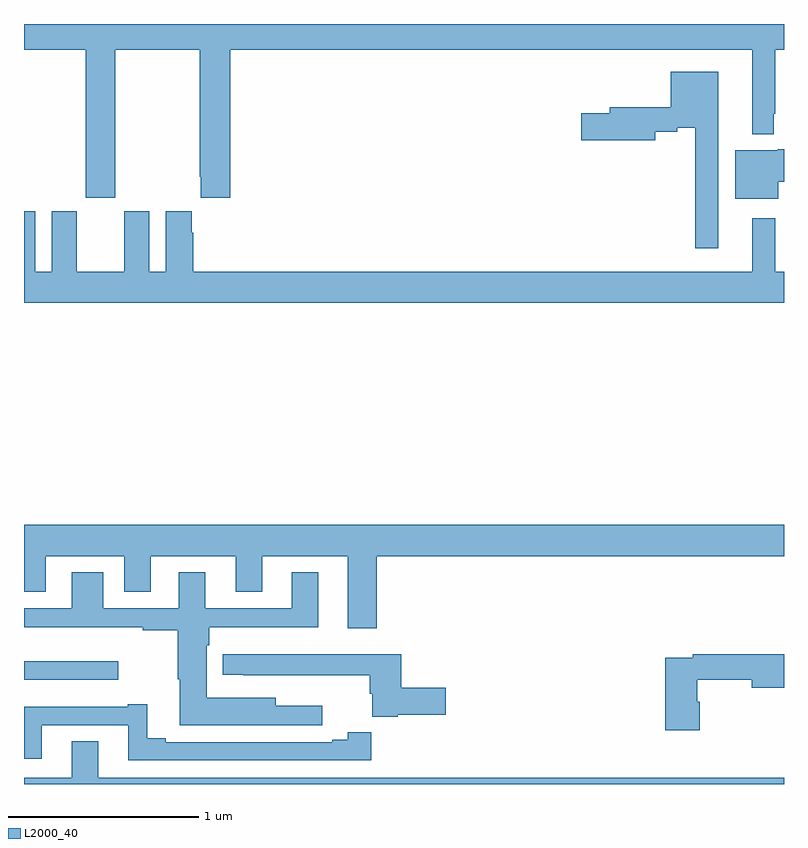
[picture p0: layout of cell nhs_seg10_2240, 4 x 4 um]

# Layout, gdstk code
import gdstk
lib = gdstk.Library(unit=1e-6, precision=1e-09)
def R(c, l, rs):  # rectangles x0, y0, x1, y1
    for r in rs: c.add(gdstk.rectangle(r[:2], r[2:], *l))
def P(c, l, *ps):  # polygons
    for p in ps: c.add(gdstk.Polygon(p, *l))
L2000_40 = (2000, 40)

nhs_seg10_2240 = lib.new_cell('nhs_seg10_2240')
R(nhs_seg10_2240, L2000_40, [(231,1249.049,231.496,1249.147)])
P(nhs_seg10_2240, L2000_40, [(231.48,1252.364),(231.925,1252.364),(231.925,1251.697),(231.929,1251.697),(231.929,1251.585),(232.085,1251.585),(232.085,1252.364),(234.833,1252.364),(234.833,1251.92),(234.947,1251.92),(234.947,1252.027),(234.955,1252.027),(234.955,1252.364),(235,1252.364),(235,1252.5),(231,1252.5),(231,1252.364),(231.325,1252.364),(231.325,1251.585),(231.48,1251.585)],
  [(234.655,1252.249),(234.404,1252.249),(234.404,1252.063),(234.083,1252.063),(234.083,1252.029),(233.934,1252.029),(233.934,1251.887),(234.322,1251.887),(234.322,1251.934),(234.437,1251.934),(234.437,1251.954),(234.534,1251.954),(234.534,1251.321),(234.655,1251.321)],
  [(234.97,1251.67),(235,1251.67),(235,1251.841),(234.966,1251.841),(234.966,1251.835),(234.743,1251.835),(234.743,1251.581),(234.97,1251.581)],
  [(235,1251.196),(234.955,1251.196),(234.955,1251.478),(234.833,1251.478),(234.833,1251.196),(231.89,1251.196),(231.89,1251.401),(231.883,1251.401),(231.883,1251.514),(231.746,1251.514),(231.746,1251.196),(231.658,1251.196),(231.658,1251.514),(231.527,1251.514),(231.527,1251.196),(231.277,1251.196),(231.277,1251.514),(231.146,1251.514),(231.146,1251.196),(231.058,1251.196),(231.058,1251.514),(231,1251.514),(231,1251.032),(235,1251.032)],
  [(232.856,1249.7),(235,1249.7),(235,1249.864),(231,1249.864),(231,1249.511),(231.115,1249.511),(231.115,1249.7),(231.527,1249.7),(231.527,1249.511),(231.667,1249.511),(231.667,1249.7),(232.115,1249.7),(232.115,1249.511),(232.255,1249.511),(232.255,1249.7),(232.703,1249.7),(232.703,1249.32),(232.856,1249.32)],
  [(232.57,1248.913),(232.324,1248.913),(232.324,1248.955),(231.961,1248.955),(231.961,1249.229),(231.974,1249.229),(231.974,1249.325),(232.549,1249.325),(232.549,1249.615),(232.409,1249.615),(232.409,1249.426),(231.955,1249.426),(231.955,1249.615),(231.815,1249.615),(231.815,1249.426),(231.418,1249.426),(231.418,1249.615),(231.251,1249.615),(231.251,1249.426),(231,1249.426),(231,1249.325),(231.625,1249.325),(231.625,1249.308),(231.809,1249.308),(231.809,1249.051),(231.821,1249.051),(231.821,1248.809),(232.57,1248.809)],
  [(234.557,1248.933),(234.544,1248.933),(234.544,1249.048),(234.83,1249.048),(234.83,1249.006),(235,1249.006),(235,1249.184),(234.52,1249.184),(234.52,1249.164),(234.374,1249.164),(234.374,1248.783),(234.557,1248.783)],
  [(232.968,1248.865),(233.221,1248.865),(233.221,1249.007),(232.985,1249.007),(232.985,1249.183),(232.046,1249.183),(232.046,1249.074),(232.153,1249.074),(232.153,1249.073),(232.82,1249.073),(232.82,1248.976),(232.832,1248.976),(232.832,1248.854),(232.968,1248.854)],
  [(232.828,1248.772),(232.703,1248.772),(232.703,1248.733),(232.622,1248.733),(232.622,1248.72),(231.745,1248.72),(231.745,1248.74),(231.649,1248.74),(231.649,1248.919),(231.545,1248.919),(231.545,1248.907),(231,1248.907),(231,1248.633),(231.094,1248.633),(231.094,1248.81),(231.548,1248.81),(231.548,1248.624),(232.828,1248.624)],
  [(235,1248.532),(231.391,1248.532),(231.391,1248.725),(231.251,1248.725),(231.251,1248.532),(231,1248.532),(231,1248.5),(235,1248.5)])

lib.write_gds('nhs_seg10_2240.gds')
